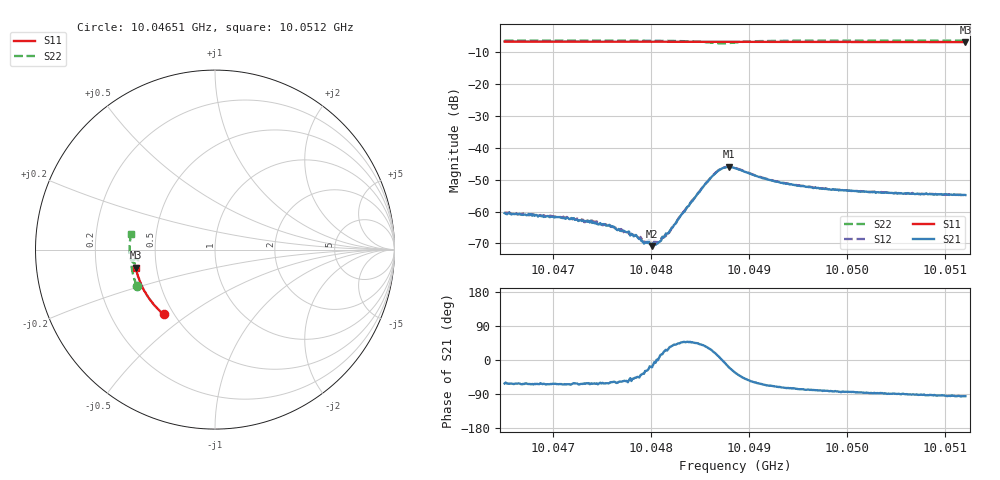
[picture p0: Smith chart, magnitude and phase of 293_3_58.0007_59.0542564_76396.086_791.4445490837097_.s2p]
#  HZ  S  RI  R  50.00
! Rohde & Schwarz Vector Network Analyzer
! Rohde-Schwarz,ZNB20-2Port,1311601062101988,3.16
! Created: UTC 3/21/2024, 1:03:23 AM
! freq[Hz]  re:S11  im:S11  re:S21  im:S21  re:S12  im:S12  re:S22  im:S22
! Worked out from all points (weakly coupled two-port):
!   401 points, 10.04651 GHz to 10.0512 GHz, reference 50 ohm
!   highest |S21| = -45.98 dB at 10.0488 GHz (marker M1); lowest = -70.9 dB at 10.04801 GHz (marker M2)
!   lowest |S11| = -6.9 dB at 10.0512 GHz (marker M3), VSWR 2.65, Z = 19 - j4.82 ohm
!   |S11| at or under -10 dB: nowhere
!   |S22| runs from -7.3 to -6.4 dB; largest |S21 - S12| = 0.00034
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1.0046512e10  -0.2866 -0.3612  0.000445 -0.000833  0.000525 -0.000795  -0.4342 -0.204
1.0046782e10  -0.3 -0.3495  0.000399 -0.000823  0.000462 -0.000767  -0.4413 -0.1871
1.0047298e10  -0.3243 -0.3255  0.000324 -0.000632  0.000377 -0.000652  -0.4527 -0.1539
1.0047345e10  -0.3265 -0.3233  0.000339 -0.000623  0.000347 -0.000617  -0.4535 -0.151
1.0047427e10  -0.33 -0.3191  0.000309 -0.000576  0.000367 -0.000591  -0.4552 -0.1452
1.0047603e10  -0.3376 -0.3104  0.0003 -0.000489  0.000298 -0.000494  -0.4583 -0.1332
1.0047673e10  -0.3407 -0.3069  0.000285 -0.000451  0.000279 -0.000451  -0.4594 -0.1283
1.0047755e10  -0.3444 -0.3028  0.000271 -0.000389  0.000309 -0.000364  -0.4605 -0.1223
1.0047837e10  -0.3476 -0.2984  0.000283 -0.000304  0.000307 -0.000298  -0.4616 -0.1163
1.0047931e10  -0.3516 -0.2936  0.000254 -0.000187  0.000308 -0.000216  -0.4628 -0.1094
1.0048013e10  -0.3549 -0.2893  0.00027 -9.47e-05  0.000315 -6.57e-05  -0.4634 -0.1029
1.0048083e10  -0.3577 -0.2858  0.000337 3.2e-05  0.000334 5.39e-05  -0.4639 -0.0972
1.0048177e10  -0.3612 -0.2808  0.0004 0.000214  0.000382 0.000247  -0.4641 -0.0895
1.00484e10  -0.3699 -0.2686  0.000897 0.001  0.000835 0.00103  -0.4604 -0.0688
1.0048611e10  -0.3774 -0.2568  0.003 0.00158  0.00291 0.00174  -0.4411 -0.0527
1.0048705e10  -0.3804 -0.252  0.00454 0.000436  0.00452 0.000701  -0.4285 -0.0597
1.0048799e10  -0.3836 -0.2467  0.00472 -0.00172  0.00485 -0.0014  -0.4305 -0.0743
1.0048857e10  -0.3857 -0.2435  0.00401 -0.00262  0.00419 -0.0024  -0.439 -0.0785
1.0049244e10  -0.3983 -0.2214  0.00108 -0.00283  0.00125 -0.00279  -0.4693 -0.0511
1.0049643e10  -0.4098 -0.198  0.000446 -0.00233  0.000612 -0.00234  -0.4748 -0.0194
1.0050429e10  -0.4286 -0.1498  2.38e-05 -0.00196  0.000154 -0.00195  -0.4747 0.036
1.0051203e10  -0.4414 -0.1007  -0.000172 -0.00181  -7.25e-05 -0.00182  -0.4673 0.0874
